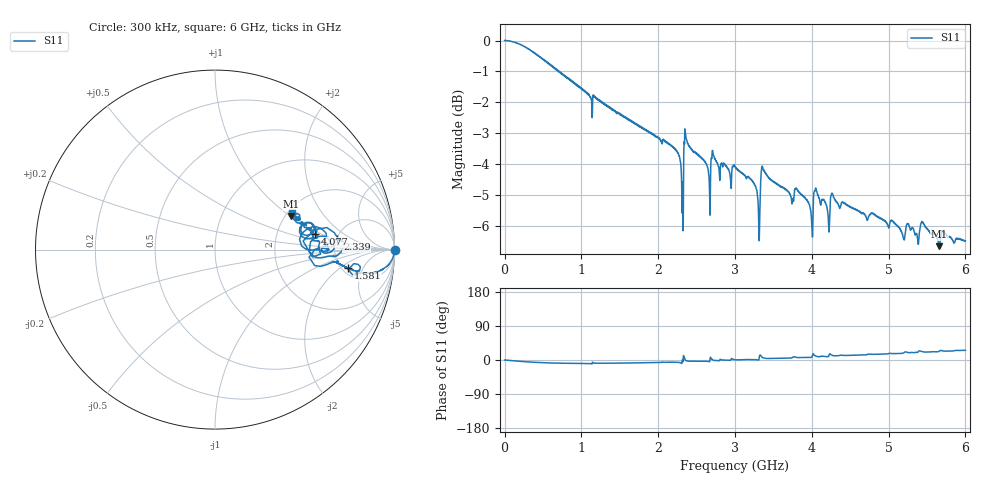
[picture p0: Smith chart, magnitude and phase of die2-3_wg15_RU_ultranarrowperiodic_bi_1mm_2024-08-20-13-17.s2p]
!Keysight Technologies,P9374A,MY57304198,A.17.20.09
!Date: Tuesday, August 20, 2024 13:17:22
!Correction: S11(C  1-Port  )
!S21(C  1-Port  )
!S12(Off)
!S22(Off)
!S2P File: Measurements: S11, S21, S12, S22:
# Hz S  dB  R 50
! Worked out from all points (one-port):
!   6000 points, 300 kHz to 6 GHz, reference 50 ohm
!   lowest |S11| = -6.7 dB at 5.662 GHz (marker M1), VSWR 2.74, Z = 108 + j51.1 ohm
!   |S11| at or under -10 dB: nowhere
!   S11 on the Smith chart (normalised r, x): 300 kHz: open; 1.581 GHz: 5.69, -2.72; 2.339 GHz: 5.08, +1.13; 4.077 GHz: 3.33, +0.85; 6 GHz: 2.10, +1.11
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300000  0.00 -0.0  -200.00 45.0  -200.00 45.0  -200.00 45.0
4.323504e8  -0.47 -6.4  -200.00 45.0  -200.00 45.0  -200.00 45.0
1.000417e9  -1.53 -9.0  -200.00 45.0  -200.00 45.0  -200.00 45.0
1.581484e9  -2.49 -8.0  -200.00 45.0  -200.00 45.0  -200.00 45.0
2.000533e9  -3.14 -6.5  -200.00 45.0  -200.00 45.0  -200.00 45.0
2.279566e9  -3.80 -6.7  -200.00 45.0  -200.00 45.0  -200.00 45.0
2.302569e9  -4.36 -8.6  -200.00 45.0  -200.00 45.0  -200.00 45.0
2.338573e9  -3.29 4.9  -200.00 45.0  -200.00 45.0  -200.00 45.0
2.364576e9  -3.18 -1.8  -200.00 45.0  -200.00 45.0  -200.00 45.0
2.432584e9  -3.53 -3.3  -200.00 45.0  -200.00 45.0  -200.00 45.0
2.65461e9  -4.26 -4.0  -200.00 45.0  -200.00 45.0  -200.00 45.0
2.717617e9  -3.69 -0.5  -200.00 45.0  -200.00 45.0  -200.00 45.0
3.00065e9  -4.09 0.6  -200.00 45.0  -200.00 45.0  -200.00 45.0
3.282683e9  -4.83 0.6  -200.00 45.0  -200.00 45.0  -200.00 45.0
3.34569e9  -4.16 9.3  -200.00 45.0  -200.00 45.0  -200.00 45.0
3.455703e9  -4.49 3.9  -200.00 45.0  -200.00 45.0  -200.00 45.0
4.000767e9  -5.97 7.5  -200.00 45.0  -200.00 45.0  -200.00 45.0
4.076776e9  -5.00 9.0  -200.00 45.0  -200.00 45.0  -200.00 45.0
4.211791e9  -5.65 8.8  -200.00 45.0  -200.00 45.0  -200.00 45.0
5.000883e9  -6.07 16.8  -200.00 45.0  -200.00 45.0  -200.00 45.0
5.661961e9  -6.66 23.6  -200.00 45.0  -200.00 45.0  -200.00 45.0
6e9  -6.48 25.6  -200.00 45.0  -200.00 45.0  -200.00 45.0
